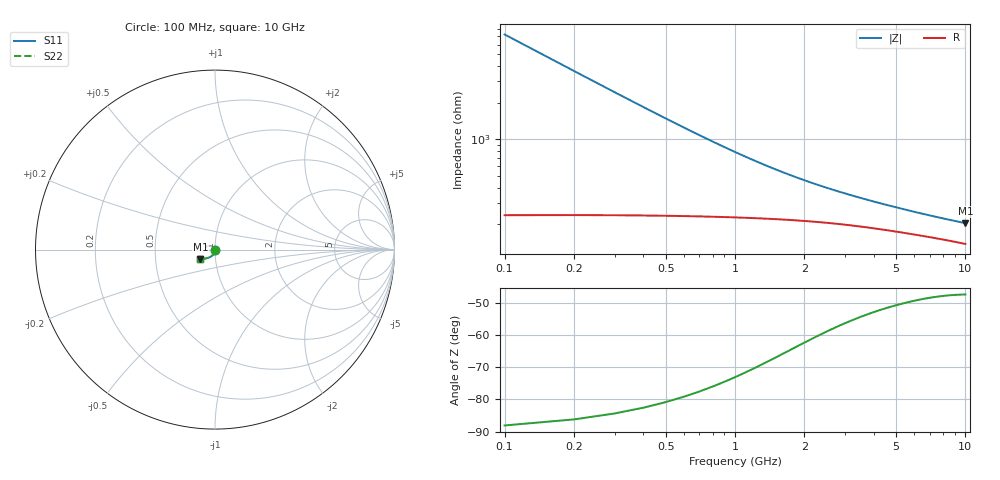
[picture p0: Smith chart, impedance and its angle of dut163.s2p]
! Touchstone file exported from HFSS 2024.1.0
!  File:  C:/UserFiles/LocalFiles/RDL_TSV_Batchsim/temp_TSV1_163_1778755648.aedt
!  Generated:  06:51:14 PM May 14, 2026
!  Design:  TSV1
!  Project:  temp_TSV1_163_1778755648
!  Setup:  Setup1
!  Solution:  Sweep
! Variables:
!  dtsv = 22.63um
!  hbump = 3um
!  htsv = 80.18um
!  lrdl = 252.1521522um
!  p = 40
!  p1 = 57.59um
!  t = 500um
!  trdl = 3um
!  wrdl = 24.89489489um
# GHz S MA R 50.000000
! Terminal data exported
! Port[1] = TSV22_T1
! Port[2] = TSV22_T2
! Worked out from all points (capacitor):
!   100 points, 100 MHz to 10 GHz, reference 50 ohm
!   read as one part in shunt: C = 219 fF near 100 MHz
!   lowest |Z| = 204 ohm at 10 GHz (marker M1)
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0.1  0.003125 -90.9  0.9998 -0.2  0.9998 -0.2  0.003125 -90.9
! Gamma 0 0 0 0
! Port Impedance 50 0 50 0
0.2  0.006234 -93.7  0.9994 -0.4  0.9994 -0.4  0.006234 -93.7
0.3  0.00931 -96.0  0.9988 -0.6  0.9988 -0.6  0.00931 -96.0
0.4  0.01234 -98.2  0.998 -0.8  0.998 -0.8  0.01234 -98.2
0.5  0.0153 -100.3  0.997 -1.0  0.997 -1.0  0.0153 -100.3
0.6  0.01819 -102.3  0.9959 -1.2  0.9959 -1.2  0.01819 -102.3
0.7  0.021 -104.2  0.9946 -1.4  0.9946 -1.4  0.021 -104.2
0.8  0.0237 -106.1  0.9932 -1.6  0.9932 -1.6  0.0237 -106.1
0.9  0.02631 -107.9  0.9917 -1.7  0.9917 -1.7  0.02631 -107.9
1.1  0.0312 -111.3  0.9886 -2.0  0.9886 -2.0  0.0312 -111.3
1.4  0.03774 -115.7  0.9837 -2.4  0.9837 -2.4  0.03774 -115.7
1.6  0.0416 -118.4  0.9804 -2.6  0.9804 -2.6  0.0416 -118.4
1.8  0.0451 -120.7  0.9773 -2.8  0.9773 -2.8  0.0451 -120.7
2.1  0.04976 -123.8  0.9728 -3.1  0.9728 -3.1  0.04976 -123.8
2.5  0.05509 -127.2  0.9673 -3.3  0.9673 -3.3  0.05509 -127.2
2.9  0.05963 -130.0  0.9624 -3.6  0.9624 -3.6  0.05963 -130.0
3.4  0.0645 -132.8  0.9571 -3.9  0.9571 -3.9  0.0645 -132.8
4.2  0.07097 -136.3  0.9498 -4.2  0.9498 -4.2  0.07097 -136.3
5.1  0.07692 -139.2  0.9431 -4.6  0.9431 -4.6  0.07692 -139.2
6.7  0.08517 -142.9  0.9338 -5.2  0.9338 -5.2  0.08517 -142.9
8.4  0.09176 -145.6  0.9264 -5.7  0.9264 -5.7  0.09176 -145.6
10  0.09662 -147.4  0.921 -6.3  0.921 -6.3  0.09662 -147.4
